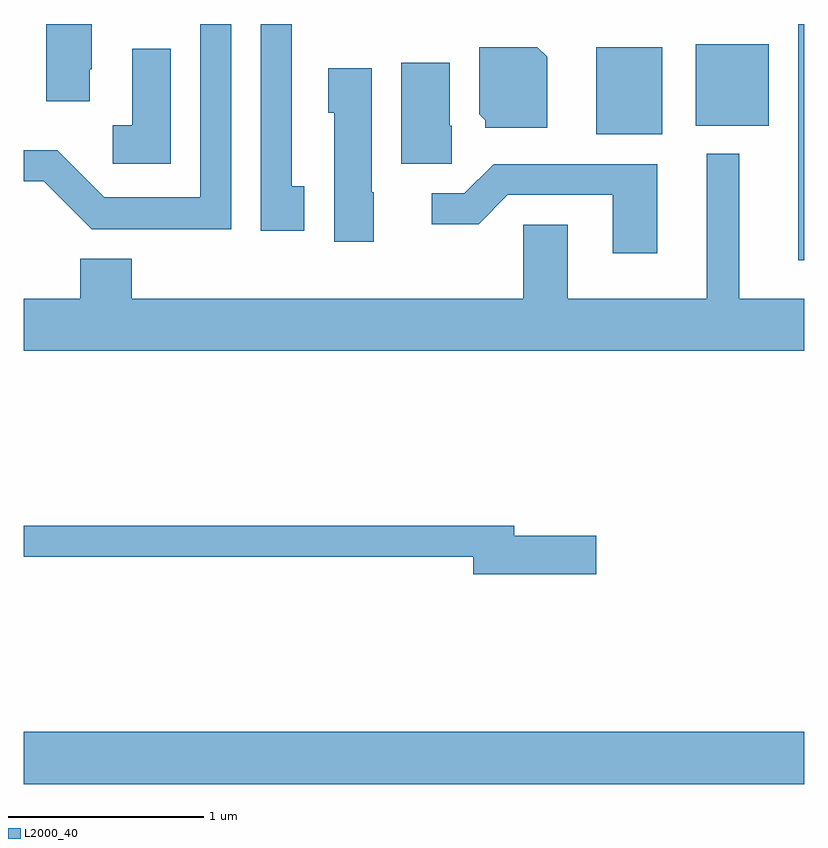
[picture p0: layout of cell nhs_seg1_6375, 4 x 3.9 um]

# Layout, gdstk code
import gdstk
lib = gdstk.Library(unit=1e-6, precision=1e-09)
def R(c, l, rs):  # rectangles x0, y0, x1, y1
    for r in rs: c.add(gdstk.rectangle(r[:2], r[2:], *l))
def P(c, l, *ps):  # polygons
    for p in ps: c.add(gdstk.Polygon(p, *l))
L2000_40 = (2000, 40)

nhs_seg1_6375 = lib.new_cell('nhs_seg1_6375')
R(nhs_seg1_6375, L2000_40, [(377.611,881.816,381.611,882.084), (381.581,884.501,381.611,885.712), (380.546,885.146,380.884,885.594), (381.056,885.191,381.429,885.609)])
P(nhs_seg1_6375, L2000_40, [(378.674,885.712),(378.516,885.712),(378.516,884.824),(378.022,884.824),(377.782,885.064),(377.611,885.064),(377.611,884.906),(377.714,884.906),(377.959,884.661),(378.674,884.661)],
  [(377.949,885.48),(377.959,885.48),(377.959,885.712),(377.726,885.712),(377.726,885.316),(377.949,885.316)],
  [(379.049,884.879),(378.984,884.879),(378.984,885.712),(378.826,885.712),(378.826,884.651),(379.049,884.651)],
  [(380.294,885.544),(380.244,885.594),(379.946,885.594),(379.946,885.249),(379.976,885.219),(379.976,885.181),(380.294,885.181)],
  [(378.364,885.584),(378.166,885.584),(378.166,885.194),(378.066,885.194),(378.066,884.996),(378.364,884.996)],
  [(379.804,885.19),(379.794,885.19),(379.794,885.514),(379.546,885.514),(379.546,884.996),(379.804,884.996)],
  [(379.404,884.85),(379.394,884.85),(379.394,885.484),(379.171,885.484),(379.171,885.256),(379.201,885.256),(379.201,884.596),(379.404,884.596)],
  [(381.611,884.304),(381.279,884.304),(381.279,885.048),(381.111,885.048),(381.111,884.304),(380.399,884.304),(380.399,884.684),(380.171,884.684),(380.171,884.304),(378.164,884.304),(378.164,884.509),(377.901,884.509),(377.901,884.304),(377.611,884.304),(377.611,884.036),(381.611,884.036)],
  [(380.859,884.994),(380.019,884.994),(379.869,884.844),(379.703,884.844),(379.703,884.686),(379.942,884.686),(380.092,884.836),(380.631,884.836),(380.631,884.536),(380.859,884.536)],
  [(380.544,883.089),(380.124,883.089),(380.124,883.139),(377.611,883.139),(377.611,882.981),(379.916,882.981),(379.916,882.891),(380.544,882.891)])

lib.write_gds('nhs_seg1_6375.gds')
